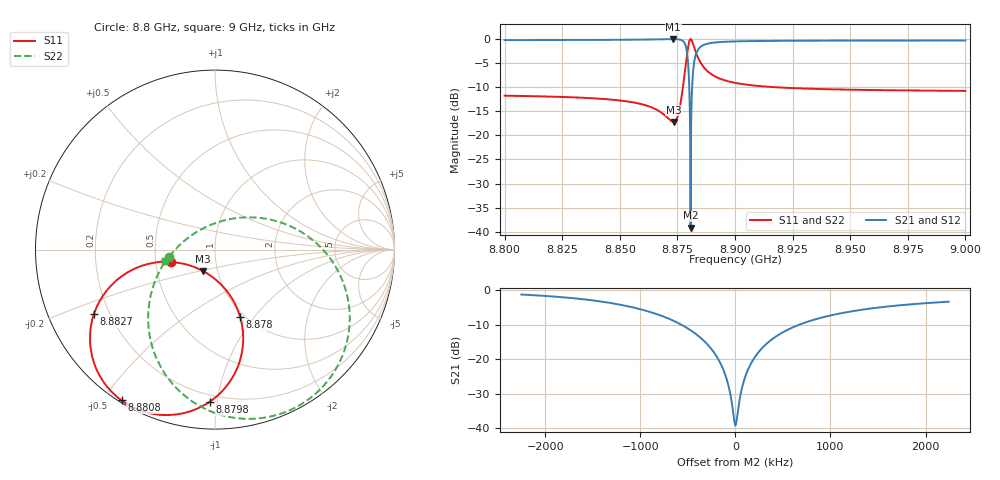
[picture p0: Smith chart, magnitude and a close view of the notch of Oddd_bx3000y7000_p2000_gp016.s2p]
! Sonnet Data File
! From: emgraph Version : 16.52
! From Project: Resonator2
! Data is De-embedded
! Data File Written: 10/05/2017 10:46:04
!< HDATE 10/04/2017 20:26:48
!< MDATE 10/05/2017 00:36:07
!< PARAMS
!< gap = 6.0
!< Length = 400.0
!< Pwid1 = 2000.0
!< Pwid2 = 2000.0
!< END PARAMS
# GHZ S MA R 50.00000
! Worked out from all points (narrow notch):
!   1595 points, 8.8 GHz to 9 GHz, reference 50 ohm
!   highest |S21| = -0.09 dB at 8.8732 GHz (marker M1); lowest = -39.1 dB at 8.8807 GHz (marker M2)
!   notch at M2: 38.7 dB deep, 380 kHz wide at half that depth
!   lowest |S11| = -17.3 dB at 8.8734 GHz (marker M3), VSWR 1.32, Z = 42.7 - j10.5 ohm
!   |S11| at or under -10 dB: start of sweep to 8.8774 GHz; 8.9157 GHz to end of sweep
!   |S22| runs from -17.4 to -0.1 dB; largest |S21 - S12| = 0
!   S11 on the Smith chart (normalised r, x): 8.8 GHz: 0.60, -0.09; 8.878 GHz: 0.95, -0.86; 8.8798 GHz: 0.16, -0.95; 8.8808 GHz: 0.01, -0.56; 8.8827 GHz: 0.14, -0.25; 9 GHz: 0.56, -0.08
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8.8  0.2569 -163.9  0.9664 -77.3  0.9664 -77.3  0.2569 -170.8
!< P1 F=8.8 Eeff=(5.36817953 -2.3731e-5) Z0=(35.9853883 8.0522e-5) R=0.0 C=0.0
!< P2 F=8.8 Eeff=(5.36817953 -2.3731e-5) Z0=(35.9853883 8.0522e-5) R=0.0 C=0.0
8.8334  0.2449 -163.1  0.9695 -78.5  0.9695 -78.5  0.2449 -173.9
8.866673  0.18 -152.6  0.9835 -83.8  0.9835 -83.8  0.1797 165.0
8.873189  0.1371 -121.0  0.99 -90.3  0.99 -90.3  0.1358 120.5
8.8734  0.1369 -118.5  0.99 -90.7  0.99 -90.7  0.1355 117.2
8.875399  0.1649 -89.7  0.9852 -96.0  0.9852 -96.0  0.1628 77.1
8.877977  0.4023 -69.5  0.9115 -113.1  0.9115 -113.1  0.3995 22.0
8.878978  0.6285 -77.1  0.7695 -128.9  0.7695 -128.9  0.6253 -2.5
8.879751  0.8485 -92.0  0.5115 -148.3  0.5115 -148.3  0.8451 -27.4
8.8804  0.9743 -109.6  0.1747 -166.7  0.1747 -166.7  0.9711 -51.7
8.880566  0.9867 -114.3  0.08186 -168.0  0.08186 -168.0  0.9836 -57.9
8.880664  0.9899 -117.0  0.02926 -156.7  0.02926 -156.7  0.9868 -61.4
8.880714  0.9904 -118.3  0.01104 -91.4  0.01104 -91.4  0.9873 -63.2
8.880845  0.9883 -121.8  0.07028 -13.5  0.07028 -13.5  0.9854 -67.8
8.881032  0.9779 -126.5  0.163 -13.8  0.163 -13.8  0.9752 -74.0
8.881405  0.9388 -134.7  0.323 -21.4  0.323 -21.4  0.9364 -85.0
8.882662  0.7654 -151.9  0.6381 -41.4  0.6381 -41.4  0.764 -109.9
8.8874  0.4767 -166.2  0.8784 -63.4  0.8784 -63.4  0.4764 -140.4
8.9  0.349 -167.9  0.937 -72.0  0.937 -72.0  0.3489 -156.2
8.9334  0.3027 -167.2  0.9531 -75.4  0.9531 -75.4  0.3027 -163.6
8.9668  0.2924 -167.1  0.9563 -76.4  0.9563 -76.4  0.2924 -165.7
9  0.288 -167.2  0.9576 -77.0  0.9576 -77.0  0.288 -166.8
